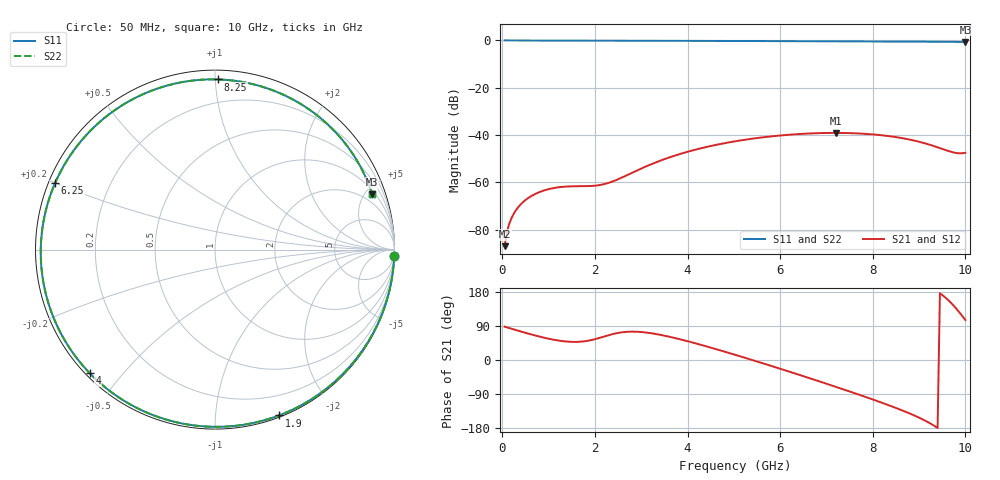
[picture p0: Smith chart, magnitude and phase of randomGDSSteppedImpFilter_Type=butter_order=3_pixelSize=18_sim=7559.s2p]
! freq	dB(S11)	phase(S11)	dB(S12)	phase(S12)
!  dB(S21)	phase(S21)	dB(S22)	phase(S22)
!S-par simulation data
#  GHz  S  DB  R 50
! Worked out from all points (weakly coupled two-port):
!   200 points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, 50 MHz to 10 GHz, reference 50 ohm
!   highest |S21| = -39.11 dB at 7.2 GHz (marker M1); lowest = -87.0 dB at 50 MHz (marker M2)
!   lowest |S11| = -0.6 dB at 10 GHz (marker M3), VSWR 27.05, Z = 62 + j279 ohm
!   |S11| at or under -10 dB: nowhere
!   |S22| runs from -0.6 to 0.0 dB; largest |S21 - S12| = 0
!   S11 on the Smith chart (normalised r, x): 50 MHz: 2, -60; 1.9 GHz: 0.02, -1.46; 4 GHz: 0.01, -0.41; 6.25 GHz: 0.02, +0.20; 8.25 GHz: 0.05, +1.02; 10 GHz: 1.24, +5.57
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0.05  -0.01 -1.9  -87.01 88.0  -87.01 88.0  -0.01 -1.9
0.1  -0.01 -3.8  -81.02 86.1  -81.02 86.1  -0.01 -3.8
0.2  -0.01 -7.5  -75.07 82.4  -75.07 82.4  -0.01 -7.5
0.35  -0.02 -13.2  -70.37 77.0  -70.37 77.0  -0.02 -13.2
0.65  -0.03 -24.4  -65.55 66.6  -65.55 66.6  -0.03 -24.4
1.1  -0.05 -40.8  -62.47 53.7  -62.47 53.7  -0.05 -40.8
1.75  -0.08 -63.8  -61.65 49.0  -61.65 49.0  -0.08 -63.8
1.9  -0.09 -69.0  -61.58 52.0  -61.58 52.0  -0.09 -69.0
2.65  -0.11 -93.8  -57.38 74.0  -57.38 74.0  -0.11 -93.8
3.4  -0.14 -117.4  -50.94 66.7  -50.94 66.7  -0.14 -117.4
4  -0.17 -135.5  -47.09 49.6  -47.09 49.6  -0.17 -135.5
5.05  -0.23 -166.5  -42.58 12.9  -42.58 12.9  -0.23 -166.5
5.65  -0.27 175.7  -40.92 -9.6  -40.92 -9.6  -0.27 175.7
6.25  -0.31 157.3  -39.79 -32.8  -39.79 -32.8  -0.31 157.3
6.7  -0.34 143.0  -39.29 -50.5  -39.29 -50.5  -0.34 143.0
7.2  -0.38 126.5  -39.11 -70.7  -39.11 -70.7  -0.38 126.5
7.75  -0.42 107.3  -39.40 -93.5  -39.40 -93.5  -0.42 107.3
8.25  -0.46 88.9  -40.22 -115.1  -40.22 -115.1  -0.46 88.9
8.35  -0.47 85.1  -40.46 -119.6  -40.46 -119.6  -0.47 85.2
9.1  -0.53 55.9  -43.36 -158.1  -43.36 -158.1  -0.53 55.9
9.75  -0.60 29.6  -47.40 143.1  -47.40 143.1  -0.60 29.7
10  -0.64 19.4  -47.50 105.6  -47.50 105.6  -0.64 19.5
